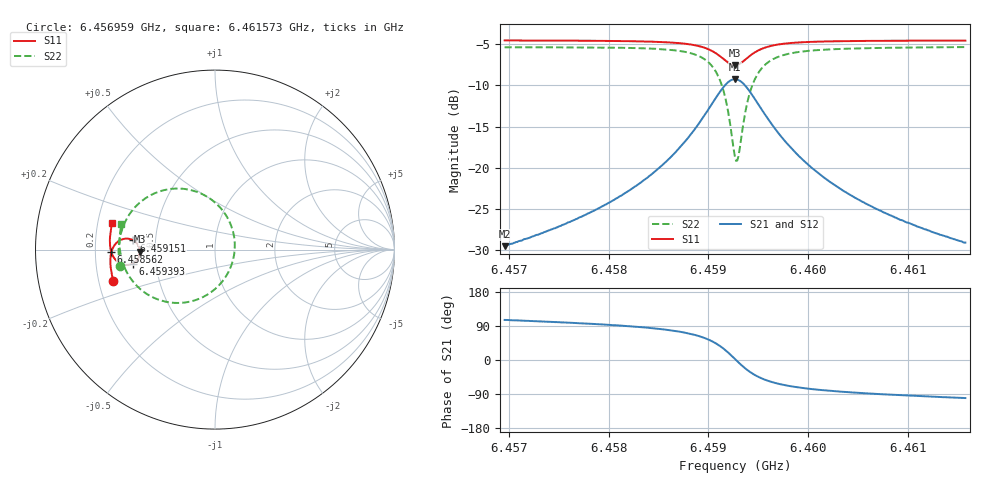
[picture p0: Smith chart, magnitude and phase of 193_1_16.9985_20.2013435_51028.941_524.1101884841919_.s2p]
#  HZ  S  RI  R  50.00
! Rohde & Schwarz Vector Network Analyzer
! Rohde-Schwarz,ZNB20-2Port,1311601062101988,3.16
! Created: UTC 3/20/2024, 11:00:44 PM
! freq[Hz]  re:S11  im:S11  re:S21  im:S21  re:S12  im:S12  re:S22  im:S22
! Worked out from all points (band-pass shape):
!   401 points, 6.456959 GHz to 6.461573 GHz, reference 50 ohm
!   highest |S21| = -9.25 dB at 6.459266 GHz (marker M1); lowest = -29.5 dB at 6.456959 GHz (marker M2)
!   |S21| within 3 dB of the highest: 6.459035 GHz to 6.459496 GHz (461.5 kHz wide, 0.00714 % of centre)
!   lowest |S11| = -7.6 dB at 6.459266 GHz (marker M3), VSWR 2.44, Z = 20.5 - j0.595 ohm
!   |S11| at or under -10 dB: nowhere
!   |S22| runs from -19.2 to -5.4 dB; largest |S21 - S12| = 0.013
!   S11 on the Smith chart (normalised r, x): 6.456959 GHz: 0.26, -0.14; 6.458562 GHz: 0.27, -0.01; 6.459151 GHz: 0.37, +0.05; 6.459393 GHz: 0.37, -0.07; 6.461573 GHz: 0.26, +0.12
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6.4569588e9  -0.5658 -0.1748  -0.00907 0.0322  -0.0074 0.0323  -0.5309 -0.089
6.4577317e9  -0.5802 -0.1072  -0.00588 0.0502  -0.00338 0.0497  -0.5371 0.00115
6.458147e9  -0.5833 -0.0658  -0.000294 0.0691  0.00293 0.0678  -0.5299 0.0665
6.4585046e9  -0.5797 -0.0233  0.0137 0.0986  0.0176 0.0959  -0.5047 0.1465
6.4585622e9  -0.5779 -0.0154  0.0179 0.1055  0.0219 0.1025  -0.4966 0.1631
6.4587699e9  -0.5649 0.0168  0.0451 0.138  0.0494 0.1331  -0.4457 0.2362
6.4589198e9  -0.5424 0.0432  0.0904 0.1686  0.0936 0.1619  -0.3627 0.3008
6.4590583e9  -0.4987 0.061  0.1773 0.1855  0.1782 0.1781  -0.2041 0.3403
6.4591505e9  -0.4541 0.0508  0.267 0.1547  0.2674 0.1488  -0.0378 0.2908
6.4592198e9  -0.425 0.0189  0.3278 0.0832  0.3299 0.0779  0.0778 0.1622
6.4592659e9  -0.418 -0.012  0.3443 0.0153  0.348 0.00865  0.1102 0.0362
6.4592774e9  -0.4185 -0.0201  0.344 -0.00233  0.348 -0.00983  0.1099 0.00249
6.4593005e9  -0.422 -0.0356  0.3387 -0.0368  0.3426 -0.0458  0.0992 -0.0629
6.4593466e9  -0.4375 -0.0618  0.3104 -0.0966  0.3128 -0.1084  0.0422 -0.1759
6.4593928e9  -0.4595 -0.078  0.2687 -0.1376  0.2679 -0.1508  -0.0421 -0.2506
6.4594851e9  -0.5028 -0.0849  0.1843 -0.1691  0.1783 -0.1805  -0.2098 -0.2973
6.459635e9  -0.5466 -0.0645  0.0967 -0.1556  0.0884 -0.1619  -0.3768 -0.249
6.4597965e9  -0.5681 -0.037  0.0518 -0.128  0.0443 -0.1309  -0.4573 -0.1776
6.4600388e9  -0.581 -0.00144  0.0225 -0.0968  0.0168 -0.0974  -0.5056 -0.0957
6.4603502e9  -0.5856 0.0358  0.0077 -0.0722  0.0034 -0.0717  -0.5263 -0.0234
6.4608116e9  -0.5837 0.0825  -0.00123 -0.0517  -0.00403 -0.0509  -0.532 0.0513
6.461573e9  -0.5718 0.1498  -0.00634 -0.0345  -0.00814 -0.0336  -0.5211 0.141
